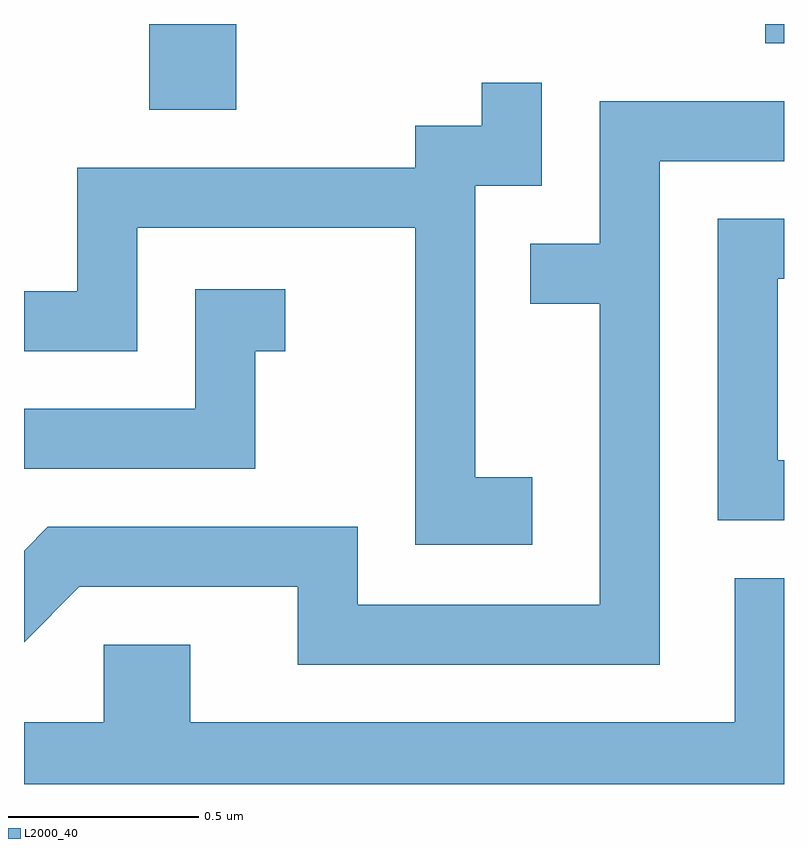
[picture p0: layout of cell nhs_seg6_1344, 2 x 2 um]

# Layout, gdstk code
import gdstk
lib = gdstk.Library(unit=1e-6, precision=1e-09)
def R(c, l, rs):  # rectangles x0, y0, x1, y1
    for r in rs: c.add(gdstk.rectangle(r[:2], r[2:], *l))
def P(c, l, *ps):  # polygons
    for p in ps: c.add(gdstk.Polygon(p, *l))
L2000_40 = (2000, 40)

nhs_seg6_1344 = lib.new_cell('nhs_seg6_1344')
R(nhs_seg6_1344, L2000_40, [(194.941,1642.936,195.169,1643.162), (196.561,1643.111,196.611,1643.162)])
P(nhs_seg6_1344, L2000_40, [(195.949,1641.969),(195.799,1641.969),(195.799,1642.736),(195.974,1642.736),(195.974,1643.008),(195.816,1643.008),(195.816,1642.894),(195.641,1642.894),(195.641,1642.784),(194.751,1642.784),(194.751,1642.459),(194.611,1642.459),(194.611,1642.301),(194.909,1642.301),(194.909,1642.626),(195.641,1642.626),(195.641,1641.791),(195.949,1641.791)],
  [(196.284,1642.801),(196.611,1642.801),(196.611,1642.959),(196.126,1642.959),(196.126,1642.584),(195.943,1642.584),(195.943,1642.426),(196.126,1642.426),(196.126,1641.634),(195.489,1641.634),(195.489,1641.839),(194.674,1641.839),(194.611,1641.776),(194.611,1641.535),(194.757,1641.681),(195.331,1641.681),(195.331,1641.476),(196.284,1641.476)],
  [(196.611,1642.014),(196.594,1642.014),(196.594,1642.491),(196.611,1642.491),(196.611,1642.649),(196.436,1642.649),(196.436,1641.856),(196.611,1641.856)],
  [(195.219,1642.301),(195.298,1642.301),(195.298,1642.464),(195.061,1642.464),(195.061,1642.149),(194.611,1642.149),(194.611,1641.991),(195.219,1641.991)],
  [(196.611,1641.704),(196.481,1641.704),(196.481,1641.324),(195.049,1641.324),(195.049,1641.529),(194.821,1641.529),(194.821,1641.324),(194.611,1641.324),(194.611,1641.162),(196.611,1641.162)])

lib.write_gds('nhs_seg6_1344.gds')
